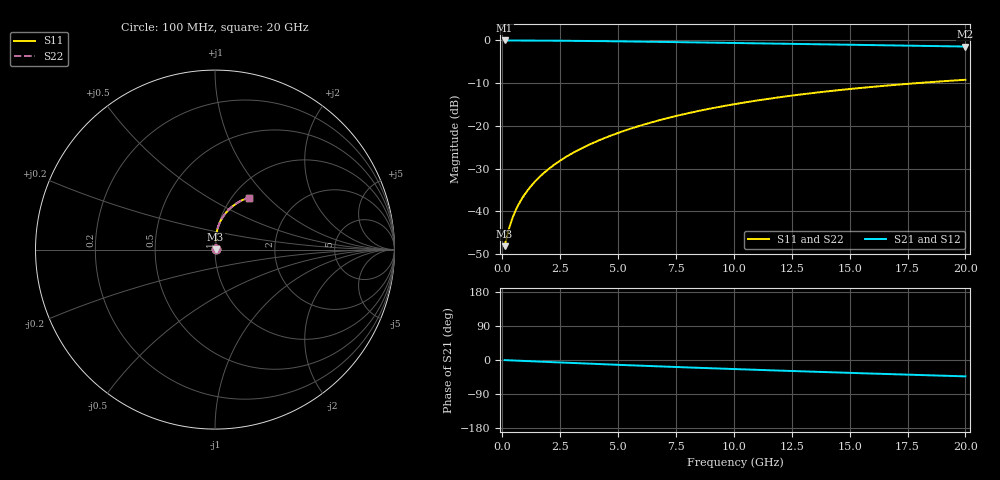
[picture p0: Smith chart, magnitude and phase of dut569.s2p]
! Touchstone file exported from HFSS 2024.1.0
!  File:  C:/UserFiles/LocalFiles/RDL_TSV_Batchsim/temp_RDL_bottom_569_1779690131.aedt
!  Generated:  02:24:21 PM May 25, 2026
!  Design:  RDL_bottom
!  Project:  temp_RDL_bottom_569_1779690131
!  Setup:  Setup1
!  Solution:  Sweep
! Variables:
!  dtsv = 10.80580581um
!  hbump = 3um
!  htsv = 82.66um
!  ldown = 628.71um
!  lrdl = 100um
!  p = 40
!  p1 = 49.43um
!  rhole = 1um
!  t = 450um
!  tdown = 2.73um
!  trdl = 3.915915916um
!  wdown = 25.61um
!  wrdl = 20um
# GHz S MA R 50.000000
! Terminal data exported
! Port[1] = RDL1_T1
! Port[2] = RDL1_T2
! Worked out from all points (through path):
!   200 points, 100 MHz to 20 GHz, reference 50 ohm
!   highest |S21| = -0.03 dB at 100 MHz (marker M1); lowest = -1.5 dB at 20 GHz (marker M2)
!   group delay of S21, straight-line fit = 5.94 ps
!   lowest |S11| = -48.2 dB at 100 MHz (marker M3), VSWR 1.01, Z = 50.3 + j0.18 ohm
!   |S11| at or under -10 dB: start of sweep to 17.95 GHz
!   |S22| runs from -48.2 to -9.2 dB; largest |S21 - S12| = 2e-15
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0.1  0.003903 27.3  0.9965 -0.3  0.9965 -0.3  0.003903 27.3
! Gamma 0 0 0 0
! Port Impedance 50 0 50 0
0.3  0.006397 53.4  0.9961 -0.8  0.9961 -0.8  0.006397 53.4
0.4  0.007786 59.2  0.9958 -1.1  0.9958 -1.1  0.007786 59.2
0.5  0.009175 63.2  0.9956 -1.4  0.9956 -1.4  0.009175 63.2
0.6  0.01056 66.3  0.9953 -1.6  0.9953 -1.6  0.01056 66.3
0.8  0.01336 70.9  0.9949 -2.1  0.9949 -2.1  0.01336 70.9
1  0.01621 74.1  0.9944 -2.7  0.9944 -2.7  0.01621 74.1
1.2  0.01912 76.5  0.9939 -3.2  0.9939 -3.2  0.01912 76.5
1.7  0.0266 80.4  0.9924 -4.5  0.9924 -4.5  0.0266 80.4
2.2  0.03435 82.6  0.9905 -5.8  0.9905 -5.8  0.03436 82.7
2.8  0.04401 84.2  0.9876 -7.3  0.9876 -7.3  0.04402 84.2
3.5  0.05575 85.1  0.9837 -9.1  0.9837 -9.1  0.05576 85.1
4.2  0.06797 85.4  0.9792 -10.8  0.9792 -10.8  0.06799 85.4
5  0.08245 85.1  0.9735 -12.7  0.9735 -12.7  0.08249 85.2
5.9  0.09928 84.3  0.9665 -14.9  0.9665 -14.9  0.09934 84.4
6.8  0.1165 83.2  0.9591 -16.9  0.9591 -16.9  0.1166 83.2
8.4  0.1476 80.5  0.9455 -20.5  0.9455 -20.5  0.1477 80.5
10.1  0.1805 77.1  0.9306 -24.1  0.9306 -24.1  0.1807 77.2
11.7  0.2108 73.8  0.9166 -27.4  0.9166 -27.4  0.211 73.8
13.4  0.2416 70.2  0.9017 -30.8  0.9017 -30.8  0.2419 70.3
16.7  0.297 63.4  0.8733 -37.2  0.8733 -37.2  0.2973 63.4
20  0.3457 56.9  0.8458 -43.2  0.8458 -43.2  0.3461 57.0
